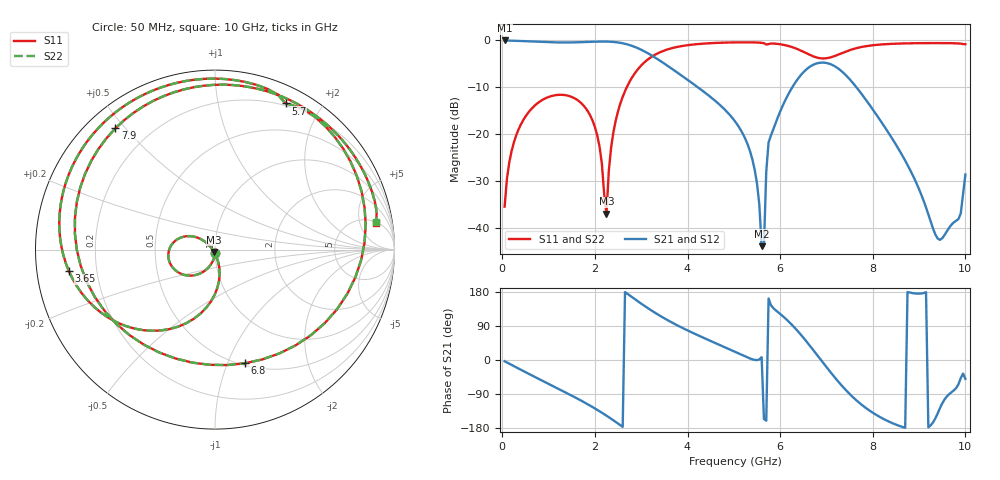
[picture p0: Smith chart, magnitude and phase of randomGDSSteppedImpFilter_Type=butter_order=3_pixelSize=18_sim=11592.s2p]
! freq	dB(S11)	phase(S11)	dB(S12)	phase(S12)
!  dB(S21)	phase(S21)	dB(S22)	phase(S22)
!S-par simulation data
#  GHz  S  DB  R 50
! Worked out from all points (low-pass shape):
!   200 points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, 50 MHz to 10 GHz, reference 50 ohm
!   highest |S21| = -0.02 dB at 50 MHz (marker M1); lowest = -43.8 dB at 5.6 GHz (marker M2)
!   |S21| within 3 dB of the highest: start of sweep to 3.192 GHz
!   lowest |S11| = -36.9 dB at 2.25 GHz (marker M3), VSWR 1.03, Z = 49.5 - j1.32 ohm
!   |S11| at or under -10 dB: start of sweep to 2.687 GHz
!   |S22| runs from -36.8 to -0.4 dB; largest |S21 - S12| = 0
!   S11 on the Smith chart (normalised r, x): 50 MHz: 1.00, -0.03; 3.65 GHz: 0.10, -0.07; 5.7 GHz: 0.18, +1.58; 6.8 GHz: 0.52, -1.15; 7.9 GHz: 0.08, +0.47; 10 GHz: 5, +9
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0.05  -35.41 -88.2  -0.02 -3.3  -0.02 -3.3  -35.41 -88.2
0.55  -15.52 -124.6  -0.21 -35.2  -0.21 -35.2  -15.52 -124.6
1.75  -13.82 161.0  -0.37 -110.3  -0.37 -110.3  -13.82 161.0
2.05  -20.22 143.3  -0.27 -131.5  -0.27 -131.5  -20.22 143.4
2.25  -36.91 -111.4  -0.26 -146.9  -0.26 -146.9  -36.81 -111.9
2.35  -22.80 -75.3  -0.30 -155.1  -0.30 -155.1  -22.80 -75.5
2.55  -13.42 -86.4  -0.53 -172.0  -0.53 -172.0  -13.42 -86.5
3.4  -2.56 -154.6  -4.30 117.1  -4.30 117.1  -2.56 -154.6
3.65  -1.69 -171.6  -5.96 99.8  -5.96 99.8  -1.69 -171.7
5.05  -0.43 108.7  -17.58 20.0  -17.58 20.0  -0.43 108.7
5.45  -0.44 83.2  -27.53 0.3  -27.53 0.3  -0.44 83.3
5.6  -0.52 71.9  -43.82 7.4  -43.82 7.4  -0.52 72.0
5.65  -0.62 67.8  -43.78 -155.7  -43.78 -155.7  -0.62 67.9
5.7  -0.87 64.2  -27.92 -160.2  -27.92 -160.2  -0.89 64.3
6.25  -1.41 9.2  -10.19 93.4  -10.19 93.4  -1.40 9.5
6.7  -3.34 -58.4  -5.27 28.5  -5.27 28.5  -3.34 -58.1
6.8  -3.68 -75.4  -4.88 12.8  -4.88 12.8  -3.68 -75.1
7.4  -2.46 -173.2  -7.23 -76.9  -7.23 -76.9  -2.46 -173.0
7.9  -1.17 129.4  -13.31 -131.0  -13.31 -131.0  -1.17 129.6
8.35  -0.77 93.8  -19.84 -162.6  -19.84 -162.6  -0.77 94.1
9.45  -0.58 33.1  -42.47 -127.3  -42.47 -127.3  -0.58 33.4
10  -0.82 9.4  -28.56 -49.7  -28.56 -49.7  -0.81 9.7
